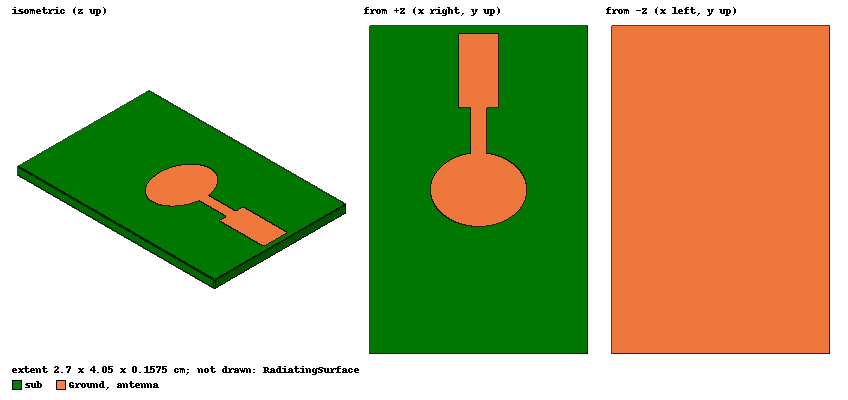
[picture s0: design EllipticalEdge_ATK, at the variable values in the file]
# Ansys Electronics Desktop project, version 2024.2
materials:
  vacuum: permittivity=1
  Duroid (tm): permittivity=2.2 dielectric_loss_tangent=0.0009

design EllipticalEdge_ATK (HFSS, HFSS Hybrid Terminal Network, model units cm)
options: Allow_Material_Override Save_Adaptive_support_files
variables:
  # --Antenna Dimensions
  patchX = 1.19cm  # Elliptical patch width along X axis
  patchY = 0.91cm  # Elliptical patch length along Y axis
  # --Substrate Dimensions
  subH = 0.1575cm  # PCB substrate thickness or height for the patch antenna
  subX = 2.7cm  # PCB substrate width for the patch antenna
  subY = 4.05cm  # PCB substrate length for the patch antenna
  # --Feed Dimensions
  EdgeFeedWidth = 0.192cm  # The width of the edge feed, narrower than the normal feed for impedance matching
  EdgeFeedLength = 0.562cm  # The length of the edge feed, narrower than the normal feed for impedance matching
  FeedWidth = 0.493cm  # The width of the feed transmission line
  FeedLength = 0.914cm  # The length of the feed transmission line
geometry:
  sub [Duroid (tm)] = box(corner=(-subX/2, -subY/2, 0cm), size=(subX, subY, subH))
  Ground = rectangle(corner=(-subX/2, -subY/2, 0cm), x_size=subX, y_size=subY)
  antenna = ellipse(normal=Z, centre=(0cm, 0cm, subH), major_radius=patchX/2, ratio=patchY/patchX)
  NewObject_8QIC0X = rectangle(corner=(-EdgeFeedWidth/2, 0cm, subH), x_size=EdgeFeedWidth, y_size=patchY/2+EdgeFeedLength)
  NewObject_S5DQ3J = rectangle(corner=(-FeedWidth/2, patchY/2+EdgeFeedLength, subH), x_size=FeedWidth, y_size=FeedLength)
  antenna.unite(NewObject_8QIC0X, NewObject_S5DQ3J)
  port1 = rectangle(corner=(-FeedWidth/2, patchY/2+EdgeFeedLength+FeedLength, 0cm), z_size=subH, x_size=FeedWidth)
  RadiatingSurface [vacuum] = region(absolute_offset=1cm on all sides)
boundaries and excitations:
  antennaMetal: Perfect E Objects=antenna
  groundMetal: Perfect E Objects=Ground
  Open1: Radiation Objects=RadiatingSurface
  port1_T1: Terminal port=1 Edges=port1.edge(at (0, 1.931, 0)) TerminalResistance=50ohm
  1: Lumped Port Faces=port1.face LumpedPortType=Terminal Impedance=50ohm
  reference conductors: antenna
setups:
  ATK_Solution: HfssDriven Frequency=10GHz MaxDeltaS=0.02 MaximumPasses=15 MinimumPasses=1 MinimumConvergedPasses=1 PercentRefinement=30 BasisOrder=1 PortAccuracy=2 DrivenSolverType="Direct Solver" IESolverType=ACA
    sweep FF_Sweep: 5GHz to 15GHz, 3 points; Type=Discrete SaveFields
    sweep SParam_Sweep: 5GHz to 15GHz, 100 points; Type=Interpolating InterpTolerance=0.5 InterpMaxSolns=250 PassivityErrorTolerance=0.0001
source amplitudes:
  1:1: 1V 0deg
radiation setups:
  3D: Infinite Sphere Theta=0deg..180deg step 2deg Phi=-180deg..180deg step 2deg
  Elevation: Infinite Sphere Theta=-180deg..180deg step 1deg Phi=0deg..90deg step 90deg
  Azimuth: Infinite Sphere Theta=90deg..90deg step 0deg Phi=-180deg..180deg step 1deg
  ATK_2D: Infinite Sphere Theta=-180deg..180deg step 1deg Phi=0deg..90deg step 90deg
  ATK_3D: Infinite Sphere Theta=-180deg..180deg step 2deg Phi=0deg..180deg step 5deg
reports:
  ff_3D_GainTotal: dB(GainTotal) vs Phi, Theta on ATK_Solution : LastAdaptive, ATK_3D [Freq=1e+10]
  ff_2D_GainTotal: dB(GainTotal) vs Theta on ATK_Solution : LastAdaptive, ATK_2D [Phi=all Freq=1e+10]
  ff_2D_GainTotal_Stacked: dB(GainTotal) vs Theta on ATK_Solution : FF_Sweep, ATK_2D [Phi=all Freq=all]
  Return Loss: dB(St11) vs Freq on ATK_Solution : SParam_Sweep; markers MX1 at x=1.1529153e+10
  Input Impedance: St11 on ATK_Solution : SParam_Sweep [Freq=all]
